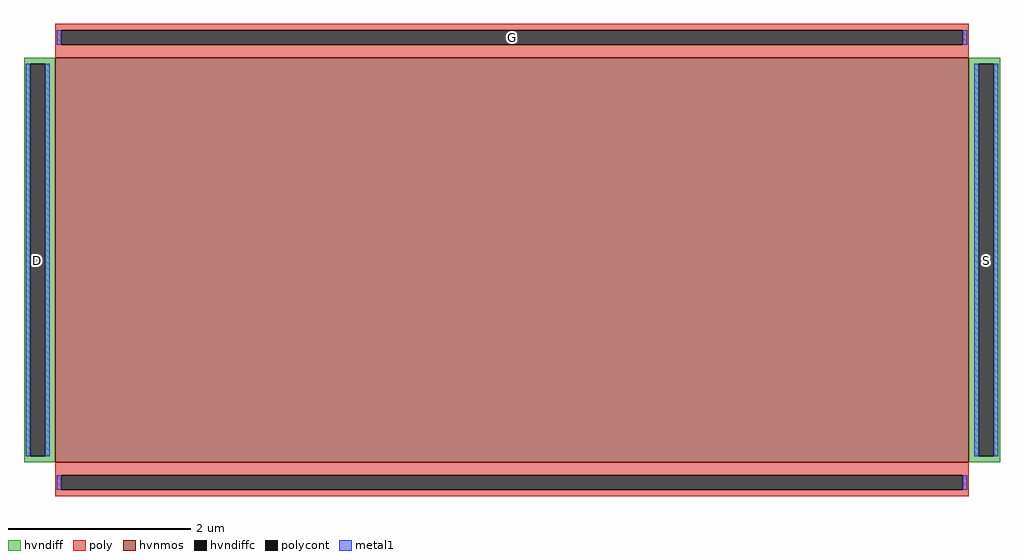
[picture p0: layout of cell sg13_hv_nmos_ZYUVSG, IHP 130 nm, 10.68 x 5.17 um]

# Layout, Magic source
magic
tech ihp-sg13cmos5l
magscale 1 2
<< hvnmos >>
rect -1000 -443 1000 443
<< hvndiff >>
rect -1068 429 -1000 443
rect -1068 -429 -1054 429
rect -1022 -429 -1000 429
rect -1068 -443 -1000 -429
rect 1000 429 1068 443
rect 1000 -429 1022 429
rect 1054 -429 1068 429
rect 1000 -443 1068 -429
<< hvndiffc >>
rect -1054 -429 -1022 429
rect 1022 -429 1054 429
<< poly >>
rect -1000 503 1000 517
rect -1000 471 -986 503
rect 986 471 1000 503
rect -1000 443 1000 471
rect -1000 -471 1000 -443
rect -1000 -503 -986 -471
rect 986 -503 1000 -471
rect -1000 -517 1000 -503
<< polycont >>
rect -986 471 986 503
rect -986 -503 986 -471
<< metal1 >>
rect -996 471 -986 503
rect 986 471 996 503
rect -1064 -429 -1054 429
rect -1022 -429 -1012 429
rect 1012 -429 1022 429
rect 1054 -429 1064 429
rect -996 -503 -986 -471
rect 986 -503 996 -471
<< labels >>
rlabel hvndiffc -1038 0 -1038 0 0 D
port 4 nsew
rlabel hvndiffc 1038 0 1038 0 0 S
port 5 nsew
rlabel polycont 0 487 0 487 0 G
port 6 nsew
<< properties >>
string gencell sg13_hv_nmos
string library sg13cmos5l
string parameters w 4.43 l 10.0 m 1 ng 1 diffcov 100 polycov 100 guard 0 glc 1 grc 1 gtc 1 gbc 1 tbcov 100 rlcov 100 topc 1 botc 1 poverlap 0 doverlap 1 lmin 0.45 wmin 0.15 class mosfet compatible {sg13_lv_nmos sg13_hv_nmos} full_metal 1 conn_gates 0 gate_ring 0 doports 1 viasrc 0 viadrn 0 viagate 0 ccols 1 viagb 0 viagr 0 viagl 0 viagt 0
<< end >>
